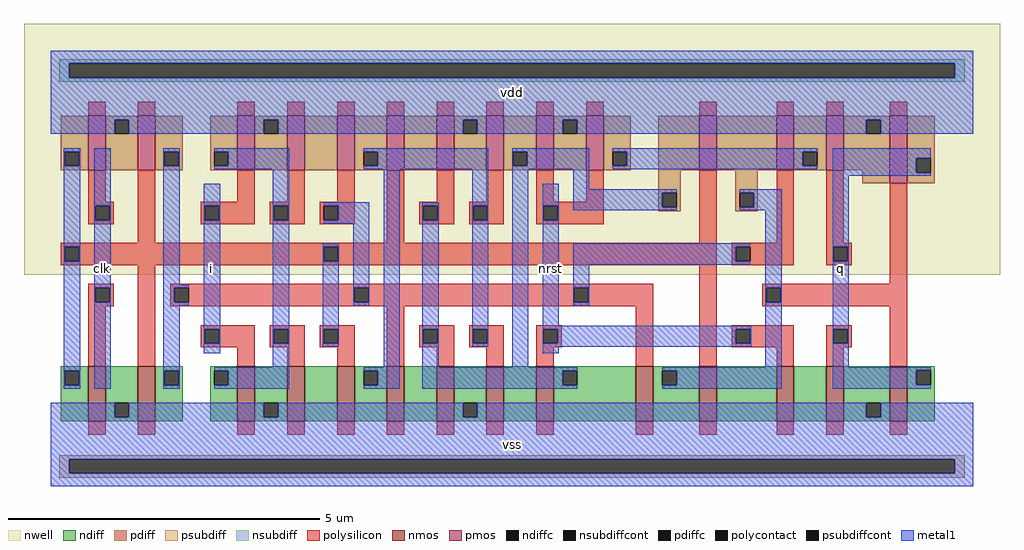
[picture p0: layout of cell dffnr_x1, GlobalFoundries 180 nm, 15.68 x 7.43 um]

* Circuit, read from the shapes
.subckt dffnr_x1 vdd vss clk i nrst q
XM1 vss clk n1 vss nfet_03v3 w=0.88u l=0.28u
XM2 n2 n1 vss vss nfet_03v3 w=0.88u l=0.28u
XM3 vss i n3 vss nfet_03v3 w=0.88u l=0.28u
XM4 n4 n3 vss vss nfet_03v3 w=0.88u l=0.28u
XM5 n5 n1 n4 vss nfet_03v3 w=0.88u l=0.28u
XM6 n6 n2 n5 vss nfet_03v3 w=0.88u l=0.28u
XM7 vss n7 n6 vss nfet_03v3 w=0.88u l=0.28u
XM8 n8 n5 vss vss nfet_03v3 w=0.88u l=0.28u
XM9 n7 nrst n8 vss nfet_03v3 w=0.88u l=0.28u
XM10 n9 n2 n7 vss nfet_03v3 w=0.88u l=0.28u
XM11 n10 n1 n9 vss nfet_03v3 w=0.88u l=0.28u
XM12 n11 nrst n10 vss nfet_03v3 w=0.88u l=0.28u
XM13 vss q n11 vss nfet_03v3 w=0.88u l=0.28u
XM14 q n9 vss vss nfet_03v3 w=0.885u l=0.28u
XM15 vdd clk n1 vdd pfet_03v3 w=0.88u l=0.28u
XM16 n2 n1 vdd vdd pfet_03v3 w=0.88u l=0.28u
XM17 vdd i n3 vdd pfet_03v3 w=0.88u l=0.28u
XM18 n12 n3 vdd vdd pfet_03v3 w=0.88u l=0.28u
XM19 n5 n2 n12 vdd pfet_03v3 w=0.88u l=0.28u
XM20 n13 n1 n5 vdd pfet_03v3 w=0.88u l=0.28u
XM21 vdd n7 n13 vdd pfet_03v3 w=0.88u l=0.28u
XM22 n7 n5 vdd vdd pfet_03v3 w=0.88u l=0.28u
XM23 vdd nrst n7 vdd pfet_03v3 w=0.88u l=0.28u
XM24 n14 nrst vdd vdd pfet_03v3 w=0.88u l=0.28u
XM25 n9 n1 n7 vdd pfet_03v3 w=0.88u l=0.28u
XM26 n14 n2 n9 vdd pfet_03v3 w=0.88u l=0.28u
XM27 vdd q n14 vdd pfet_03v3 w=0.88u l=0.28u
XM28 q n9 vdd vdd pfet_03v3 w=1.085u l=0.28u
.ends

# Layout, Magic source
magic
tech gf180mcuD
magscale 1 10
<< nwell >>
rect -86 680 3050 1486
<< nmos >>
rect 120 209 176 385
rect 280 209 336 385
rect 600 209 656 385
rect 760 209 816 385
rect 920 209 976 385
rect 1080 209 1136 385
rect 1240 209 1296 385
rect 1400 209 1456 385
rect 1560 209 1616 385
rect 1880 209 1936 385
rect 2084 209 2140 385
rect 2332 209 2388 385
rect 2492 209 2548 385
rect 2696 209 2752 386
<< pmos >>
rect 120 1015 176 1191
rect 280 1015 336 1191
rect 600 1015 656 1191
rect 760 1015 816 1191
rect 920 1015 976 1191
rect 1080 1015 1136 1191
rect 1240 1015 1296 1191
rect 1400 1015 1456 1191
rect 1560 1015 1616 1191
rect 1720 1015 1776 1191
rect 2084 1015 2140 1191
rect 2332 1015 2388 1191
rect 2492 1015 2548 1191
rect 2696 974 2752 1191
<< ndiff >>
rect 2608 385 2696 386
rect 32 371 120 385
rect 32 325 45 371
rect 91 325 120 371
rect 32 209 120 325
rect 176 268 280 385
rect 176 222 205 268
rect 251 222 280 268
rect 176 209 280 222
rect 336 371 424 385
rect 336 325 365 371
rect 411 325 424 371
rect 336 209 424 325
rect 512 371 600 385
rect 512 325 525 371
rect 571 325 600 371
rect 512 209 600 325
rect 656 268 760 385
rect 656 222 685 268
rect 731 222 760 268
rect 656 209 760 222
rect 816 209 920 385
rect 976 371 1080 385
rect 976 325 1005 371
rect 1051 325 1080 371
rect 976 209 1080 325
rect 1136 209 1240 385
rect 1296 268 1400 385
rect 1296 222 1325 268
rect 1371 222 1400 268
rect 1296 209 1400 222
rect 1456 209 1560 385
rect 1616 371 1880 385
rect 1616 325 1645 371
rect 1691 325 1880 371
rect 1616 209 1880 325
rect 1936 371 2084 385
rect 1936 325 1965 371
rect 2011 325 2084 371
rect 1936 209 2084 325
rect 2140 209 2332 385
rect 2388 209 2492 385
rect 2548 268 2696 385
rect 2548 222 2621 268
rect 2667 222 2696 268
rect 2548 209 2696 222
rect 2752 372 2840 386
rect 2752 326 2781 372
rect 2827 326 2840 372
rect 2752 209 2840 326
<< pdiff >>
rect 32 1075 120 1191
rect 32 1029 45 1075
rect 91 1029 120 1075
rect 32 1015 120 1029
rect 176 1178 280 1191
rect 176 1132 205 1178
rect 251 1132 280 1178
rect 176 1015 280 1132
rect 336 1075 424 1191
rect 336 1029 365 1075
rect 411 1029 424 1075
rect 336 1015 424 1029
rect 512 1075 600 1191
rect 512 1029 525 1075
rect 571 1029 600 1075
rect 512 1015 600 1029
rect 656 1178 760 1191
rect 656 1132 685 1178
rect 731 1132 760 1178
rect 656 1015 760 1132
rect 816 1015 920 1191
rect 976 1075 1080 1191
rect 976 1029 1005 1075
rect 1051 1029 1080 1075
rect 976 1015 1080 1029
rect 1136 1015 1240 1191
rect 1296 1178 1400 1191
rect 1296 1132 1325 1178
rect 1371 1132 1400 1178
rect 1296 1015 1400 1132
rect 1456 1075 1560 1191
rect 1456 1029 1485 1075
rect 1531 1029 1560 1075
rect 1456 1015 1560 1029
rect 1616 1178 1720 1191
rect 1616 1132 1645 1178
rect 1691 1132 1720 1178
rect 1616 1015 1720 1132
rect 1776 1075 1864 1191
rect 1776 1029 1805 1075
rect 1851 1029 1864 1075
rect 1776 1015 1864 1029
rect 1952 1015 2084 1191
rect 2140 1015 2332 1191
rect 2388 1075 2492 1191
rect 2388 1029 2417 1075
rect 2463 1029 2492 1075
rect 2388 1015 2492 1029
rect 2548 1178 2696 1191
rect 2548 1132 2621 1178
rect 2667 1132 2696 1178
rect 2548 1015 2696 1132
rect 1952 943 2024 1015
rect 1952 897 1965 943
rect 2011 897 2024 943
rect 1952 884 2024 897
rect 2200 943 2272 1015
rect 2200 897 2213 943
rect 2259 897 2272 943
rect 2200 884 2272 897
rect 2608 974 2696 1015
rect 2752 1054 2840 1191
rect 2752 1008 2781 1054
rect 2827 1008 2840 1054
rect 2752 974 2840 1008
<< ndiffc >>
rect 45 325 91 371
rect 205 222 251 268
rect 365 325 411 371
rect 525 325 571 371
rect 685 222 731 268
rect 1005 325 1051 371
rect 1325 222 1371 268
rect 1645 325 1691 371
rect 1965 325 2011 371
rect 2621 222 2667 268
rect 2781 326 2827 372
<< pdiffc >>
rect 45 1029 91 1075
rect 205 1132 251 1178
rect 365 1029 411 1075
rect 525 1029 571 1075
rect 685 1132 731 1178
rect 1005 1029 1051 1075
rect 1325 1132 1371 1178
rect 1485 1029 1531 1075
rect 1645 1132 1691 1178
rect 1805 1029 1851 1075
rect 2417 1029 2463 1075
rect 2621 1132 2667 1178
rect 1965 897 2011 943
rect 2213 897 2259 943
rect 2781 1008 2827 1054
<< psubdiff >>
rect 28 87 2936 100
rect 28 41 59 87
rect 2905 41 2936 87
rect 28 28 2936 41
<< nsubdiff >>
rect 28 1359 2936 1372
rect 28 1313 59 1359
rect 2905 1313 2936 1359
rect 28 1300 2936 1313
<< psubdiffcont >>
rect 59 41 2905 87
<< nsubdiffcont >>
rect 59 1313 2905 1359
<< polysilicon >>
rect 120 1191 176 1235
rect 280 1191 336 1235
rect 600 1191 656 1235
rect 760 1191 816 1235
rect 920 1191 976 1235
rect 1080 1191 1136 1235
rect 1240 1191 1296 1235
rect 1400 1191 1456 1235
rect 1560 1191 1616 1235
rect 1720 1191 1776 1235
rect 2084 1191 2140 1235
rect 2332 1191 2388 1235
rect 2492 1191 2548 1235
rect 2696 1191 2752 1235
rect 120 914 176 1015
rect 120 901 202 914
rect 120 855 143 901
rect 189 855 202 901
rect 120 842 202 855
rect 280 782 336 1015
rect 600 914 656 1015
rect 760 914 816 1015
rect 920 914 976 1015
rect 482 901 656 914
rect 482 855 495 901
rect 541 855 656 901
rect 482 842 656 855
rect 704 901 816 914
rect 704 855 717 901
rect 763 855 816 901
rect 704 842 816 855
rect 864 901 976 914
rect 864 855 877 901
rect 923 855 976 901
rect 864 842 976 855
rect 1080 782 1136 1015
rect 1240 914 1296 1015
rect 1400 914 1456 1015
rect 1184 901 1296 914
rect 1184 855 1197 901
rect 1243 855 1296 901
rect 1184 842 1296 855
rect 1344 901 1456 914
rect 1344 855 1357 901
rect 1403 855 1456 901
rect 1344 842 1456 855
rect 1560 914 1616 1015
rect 1720 914 1776 1015
rect 1560 901 1776 914
rect 1560 855 1583 901
rect 1629 855 1776 901
rect 1560 842 1776 855
rect 2084 782 2140 1015
rect 2332 782 2388 1015
rect 32 769 2140 782
rect 32 723 45 769
rect 91 723 877 769
rect 923 723 2140 769
rect 32 710 2140 723
rect 2188 769 2388 782
rect 2188 723 2201 769
rect 2247 723 2388 769
rect 2188 710 2388 723
rect 2492 782 2548 1015
rect 2492 769 2574 782
rect 2492 723 2515 769
rect 2561 723 2574 769
rect 2492 710 2574 723
rect 120 637 202 650
rect 120 591 143 637
rect 189 591 202 637
rect 120 578 202 591
rect 120 385 176 578
rect 280 385 336 710
rect 384 637 1936 650
rect 384 591 397 637
rect 443 591 975 637
rect 1021 591 1681 637
rect 1727 591 1936 637
rect 384 578 1936 591
rect 482 505 656 518
rect 482 459 495 505
rect 541 459 656 505
rect 482 446 656 459
rect 704 505 816 518
rect 704 459 717 505
rect 763 459 816 505
rect 704 446 816 459
rect 864 505 976 518
rect 864 459 877 505
rect 923 459 976 505
rect 864 446 976 459
rect 600 385 656 446
rect 760 385 816 446
rect 920 385 976 446
rect 1080 385 1136 578
rect 1184 505 1296 518
rect 1184 459 1197 505
rect 1243 459 1296 505
rect 1184 446 1296 459
rect 1344 505 1456 518
rect 1344 459 1357 505
rect 1403 459 1456 505
rect 1344 446 1456 459
rect 1240 385 1296 446
rect 1400 385 1456 446
rect 1560 505 1642 518
rect 1560 459 1583 505
rect 1629 459 1642 505
rect 1560 446 1642 459
rect 1560 385 1616 446
rect 1880 385 1936 578
rect 2084 385 2140 710
rect 2696 650 2752 974
rect 2286 637 2752 650
rect 2286 591 2299 637
rect 2345 591 2752 637
rect 2286 578 2752 591
rect 2188 505 2388 518
rect 2188 459 2201 505
rect 2247 459 2388 505
rect 2188 446 2388 459
rect 2332 385 2388 446
rect 2492 505 2574 518
rect 2492 459 2515 505
rect 2561 459 2574 505
rect 2492 446 2574 459
rect 2492 385 2548 446
rect 2696 386 2752 578
rect 120 165 176 209
rect 280 165 336 209
rect 600 165 656 209
rect 760 165 816 209
rect 920 165 976 209
rect 1080 165 1136 209
rect 1240 165 1296 209
rect 1400 165 1456 209
rect 1560 165 1616 209
rect 1880 165 1936 209
rect 2084 165 2140 209
rect 2332 165 2388 209
rect 2492 165 2548 209
rect 2696 165 2752 209
<< polycontact >>
rect 143 855 189 901
rect 495 855 541 901
rect 717 855 763 901
rect 877 855 923 901
rect 1197 855 1243 901
rect 1357 855 1403 901
rect 1583 855 1629 901
rect 45 723 91 769
rect 877 723 923 769
rect 2201 723 2247 769
rect 2515 723 2561 769
rect 143 591 189 637
rect 397 591 443 637
rect 975 591 1021 637
rect 1681 591 1727 637
rect 495 459 541 505
rect 717 459 763 505
rect 877 459 923 505
rect 1197 459 1243 505
rect 1357 459 1403 505
rect 1583 459 1629 505
rect 2299 591 2345 637
rect 2201 459 2247 505
rect 2515 459 2561 505
<< metal1 >>
rect 0 1359 2964 1400
rect 0 1313 59 1359
rect 2905 1313 2964 1359
rect 0 1178 2964 1313
rect 0 1132 205 1178
rect 251 1132 685 1178
rect 731 1132 1325 1178
rect 1371 1132 1645 1178
rect 1691 1132 2621 1178
rect 2667 1132 2964 1178
rect 42 1075 94 1086
rect 42 1029 45 1075
rect 91 1029 94 1075
rect 42 769 94 1029
rect 42 723 45 769
rect 91 723 94 769
rect 42 371 94 723
rect 42 325 45 371
rect 91 325 94 371
rect 42 314 94 325
rect 140 901 192 1086
rect 140 855 143 901
rect 189 855 192 901
rect 140 637 192 855
rect 140 591 143 637
rect 189 591 192 637
rect 140 314 192 591
rect 362 1075 414 1086
rect 362 1029 365 1075
rect 411 1029 414 1075
rect 362 648 414 1029
rect 525 1075 766 1086
rect 571 1029 766 1075
rect 525 1018 766 1029
rect 1005 1075 1406 1086
rect 1051 1029 1406 1075
rect 1005 1018 1406 1029
rect 492 901 544 972
rect 492 855 495 901
rect 541 855 544 901
rect 362 637 443 648
rect 362 591 397 637
rect 362 580 443 591
rect 362 371 414 580
rect 492 505 544 855
rect 492 459 495 505
rect 541 459 544 505
rect 492 428 544 459
rect 714 901 766 1018
rect 714 855 717 901
rect 763 855 766 901
rect 714 505 766 855
rect 877 901 1024 912
rect 923 855 1024 901
rect 877 844 1024 855
rect 714 459 717 505
rect 763 459 766 505
rect 714 382 766 459
rect 874 769 926 780
rect 874 723 877 769
rect 923 723 926 769
rect 874 505 926 723
rect 972 637 1024 844
rect 972 591 975 637
rect 1021 591 1024 637
rect 972 580 1024 591
rect 874 459 877 505
rect 923 459 926 505
rect 874 448 926 459
rect 1070 382 1122 1018
rect 362 325 365 371
rect 411 325 414 371
rect 362 314 414 325
rect 525 371 766 382
rect 571 325 766 371
rect 525 314 766 325
rect 1005 371 1122 382
rect 1051 325 1122 371
rect 1005 314 1122 325
rect 1194 901 1246 912
rect 1194 855 1197 901
rect 1243 855 1246 901
rect 1194 505 1246 855
rect 1194 459 1197 505
rect 1243 459 1246 505
rect 1194 382 1246 459
rect 1354 901 1406 1018
rect 1354 855 1357 901
rect 1403 855 1406 901
rect 1354 505 1406 855
rect 1354 459 1357 505
rect 1403 459 1406 505
rect 1354 448 1406 459
rect 1482 1075 1730 1086
rect 1482 1029 1485 1075
rect 1531 1029 1730 1075
rect 1482 1018 1730 1029
rect 1805 1075 2463 1086
rect 1851 1029 2417 1075
rect 1805 1018 2463 1029
rect 2512 1054 2827 1086
rect 1482 382 1534 1018
rect 1580 901 1632 972
rect 1580 855 1583 901
rect 1629 855 1632 901
rect 1678 954 1730 1018
rect 2512 1008 2781 1054
rect 2512 997 2827 1008
rect 1678 943 2011 954
rect 1678 897 1965 943
rect 1678 886 2011 897
rect 2213 943 2348 954
rect 2259 897 2348 943
rect 2213 886 2348 897
rect 1580 516 1632 855
rect 1678 769 2247 780
rect 1678 723 2201 769
rect 1678 712 2247 723
rect 1678 637 1730 712
rect 1678 591 1681 637
rect 1727 591 1730 637
rect 1678 580 1730 591
rect 2296 637 2348 886
rect 2296 591 2299 637
rect 2345 591 2348 637
rect 1580 505 2250 516
rect 1580 459 1583 505
rect 1629 459 2201 505
rect 2247 459 2250 505
rect 1580 448 2250 459
rect 1580 428 1632 448
rect 2296 382 2348 591
rect 1194 371 1691 382
rect 1194 325 1645 371
rect 1194 314 1691 325
rect 1965 371 2348 382
rect 2011 325 2348 371
rect 1965 314 2348 325
rect 2512 769 2564 997
rect 2512 723 2515 769
rect 2561 723 2564 769
rect 2512 505 2564 723
rect 2512 459 2515 505
rect 2561 459 2564 505
rect 2512 383 2564 459
rect 2512 372 2827 383
rect 2512 326 2781 372
rect 2512 314 2827 326
rect 0 222 205 268
rect 251 222 685 268
rect 731 222 1325 268
rect 1371 222 2621 268
rect 2667 222 2964 268
rect 0 87 2964 222
rect 0 41 59 87
rect 2905 41 2964 87
rect 0 0 2964 41
<< labels >>
rlabel metal1 s 0 1132 2964 1400 4 vdd
port 3 nsew
rlabel metal1 s 0 0 2964 268 4 vss
port 5 nsew
rlabel metal1 s 140 314 192 1086 4 clk
port 7 nsew
rlabel metal1 s 492 428 544 972 4 i
port 9 nsew
rlabel metal1 s 1580 428 1632 972 4 nrst
port 11 nsew
rlabel metal1 s 2512 314 2564 1086 4 q
port 13 nsew
<< end >>
